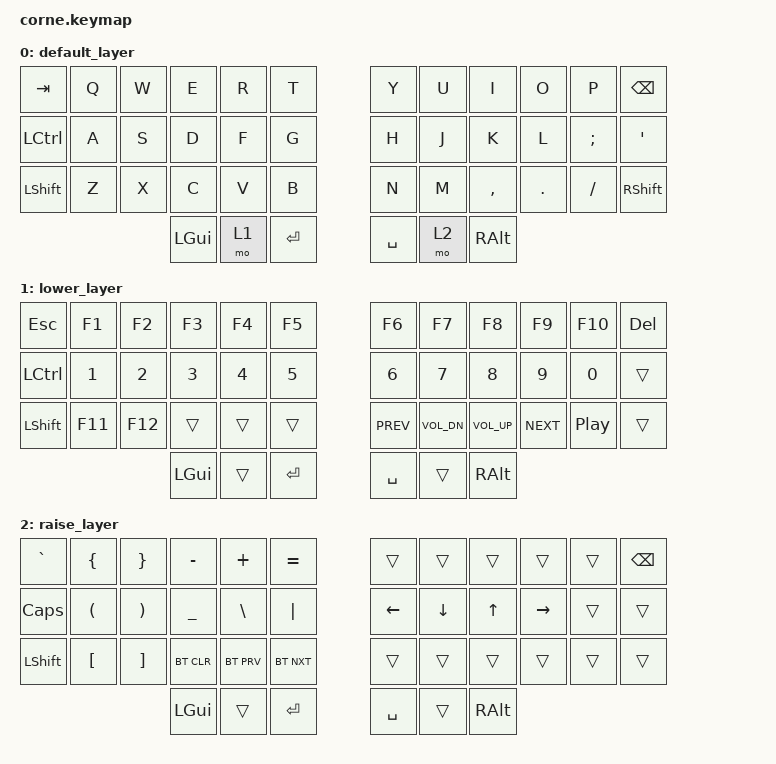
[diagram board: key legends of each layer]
/*
 * Copyright (c) 2020 The ZMK Contributors
 *
 * SPDX-License-Identifier: MIT
 */

#include <behaviors.dtsi>
#include <dt-bindings/zmk/keys.h>
#include <dt-bindings/zmk/bt.h>

/ {
        keymap {
                compatible = "zmk,keymap";

                default_layer {
// -----------------------------------------------------------------------------------------
// |  TAB |  Q  |  W  |  E  |  R  |  T  |   |  Y  |  U   |  I  |  O  |  P  | BKSP |
// | CTRL |  A  |  S  |  D  |  F  |  G  |   |  H  |  J   |  K  |  L  |  ;  |  '   |
// | SHFT |  Z  |  X  |  C  |  V  |  B  |   |  N  |  M   |  ,  |  .  |  /  | SHFT |
//                    | GUI | LWR | ENT |   | SPC | RSE  | ALT |
                        bindings = <
   &kp TAB   &kp Q &kp W &kp E &kp R &kp T   &kp Y &kp U  &kp I     &kp O   &kp P    &kp BSPC
   &kp LCTRL &kp A &kp S &kp D &kp F &kp G   &kp H &kp J  &kp K     &kp L   &kp SEMI &kp SQT
   &kp LSHFT &kp Z &kp X &kp C &kp V &kp B   &kp N &kp M  &kp COMMA &kp DOT &kp FSLH &kp RSHFT
                  &kp LGUI &mo 1 &kp RET   &kp SPACE &mo 2 &kp RALT
                        >;
                };
                lower_layer {
// -----------------------------------------------------------------------------------------
// |  ESC | F1  | F2  | F3  | F4  | F5  |   | F6  | F7  | F8  | F9  | F10 | DEL  |
// | CTRL | 1   | 2   | 3   | 4   | 5   |   | 6   | 7   |  8  | 9   |  0  |      |
// | SHFT | F11 | F12 |     |     |     |   | PREV|VOLD |VOLU | NEXT| PLPS|      |
//                    | GUI |     | ENT |   | SPC |     | ALT |
                        bindings = <
   &kp ESC    &kp F1    &kp F2   &kp F3  &kp F4  &kp F5   &kp F6      &kp F7        &kp F8       &kp F9      &kp F10  &kp DEL
   &kp LCTRL   &kp N1    &kp N2   &kp N3  &kp N4  &kp N5   &kp N6      &kp N7        &kp N8       &kp N9      &kp N0   &trans
   &kp LSHFT  &kp F11   &kp F12  &trans  &trans  &trans   &kp C_PREV  &kp C_VOL_DN  &kp C_VOL_UP &kp C_NEXT  &kp C_PP &trans
                        &kp LGUI    &trans   &kp RET      &kp SPACE  &trans   &kp RALT
                        >;
                };

                raise_layer {
// -----------------------------------------------------------------------------------------
// | GRAVE| LBRC|RBRC |MINUS| PLUS|EQUAL|   |     |     |     |     |     | BKSP |
// | CTRL | LPAR|RPAR |UNDER|BSLH |PIPE |   |LEFT |DOWN |UP   |RIGHT|     |      |
// | SHFT | LBKT|RBKT |BTCLR|BTPRV|BTNXT|   |     |     |     |     |     |      |
//                    | GUI |     | ENT |   | SPC |     | ALT |
                        bindings = <
   &kp GRAVE &kp LBRC &kp RBRC &kp MINUS  &kp PLUS   &kp EQUAL   &trans   &trans   &trans &trans    &trans   &kp BSPC
   &kp CAPS &kp LPAR &kp RPAR &kp UNDER  &kp BSLH   &kp PIPE    &kp LEFT &kp DOWN &kp UP &kp RIGHT &trans   &trans
   &kp LSHFT &kp LBKT &kp RBKT &bt BT_CLR &bt BT_PRV &bt BT_NXT  &trans   &trans   &trans &trans    &trans   &trans
                             &kp LGUI &trans   &kp RET   &kp SPACE   &trans    &kp RALT
                        >;
                };
        };
};
